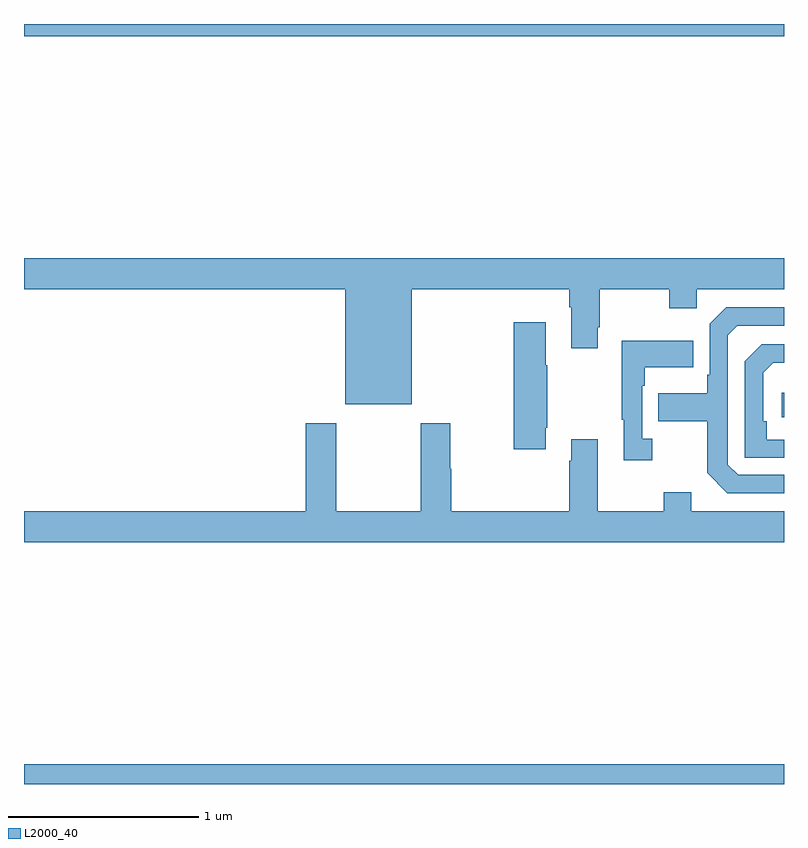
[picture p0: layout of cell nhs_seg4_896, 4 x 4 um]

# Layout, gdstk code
import gdstk
lib = gdstk.Library(unit=1e-6, precision=1e-09)
def R(c, l, rs):  # rectangles x0, y0, x1, y1
    for r in rs: c.add(gdstk.rectangle(r[:2], r[2:], *l))
def P(c, l, *ps):  # polygons
    for p in ps: c.add(gdstk.Polygon(p, *l))
L2000_40 = (2000, 40)

nhs_seg4_896 = lib.new_cell('nhs_seg4_896')
R(nhs_seg4_896, L2000_40, [(157,776.9,161,777.004), (160.989,778.83,161,778.96), (157,780.836,161,780.9)])
P(nhs_seg4_896, L2000_40, [(159.04,779.504),(159.869,779.504),(159.869,779.408),(159.881,779.408),(159.881,779.193),(160.021,779.193),(160.021,779.305),(160.029,779.305),(160.029,779.504),(160.396,779.504),(160.396,779.405),(160.542,779.405),(160.542,779.504),(161,779.504),(161,779.668),(157,779.668),(157,779.504),(158.69,779.504),(158.69,778.898),(159.04,778.898)],
  [(161,778.527),(160.758,778.527),(160.704,778.581),(160.704,779.262),(160.755,779.313),(161,779.313),(161,779.409),(160.695,779.409),(160.608,779.322),(160.608,779.053),(160.596,779.053),(160.596,778.957),(160.339,778.957),(160.339,778.81),(160.596,778.81),(160.596,778.537),(160.701,778.431),(161,778.431)],
  [(159.745,778.774),(159.753,778.774),(159.753,779.105),(159.745,779.105),(159.745,779.329),(159.578,779.329),(159.578,778.662),(159.745,778.662)],
  [(160.306,778.718),(160.254,778.718),(160.254,778.997),(160.267,778.997),(160.267,779.093),(160.523,779.093),(160.523,779.233),(160.146,779.233),(160.146,778.817),(160.157,778.817),(160.157,778.605),(160.306,778.605)],
  [(161,778.713),(160.91,778.713),(160.91,778.81),(160.89,778.81),(160.89,779.064),(160.943,779.117),(161,779.117),(161,779.214),(160.884,779.214),(160.794,779.124),(160.794,778.617),(161,778.617)],
  [(161,778.336),(160.513,778.336),(160.513,778.435),(160.366,778.435),(160.366,778.336),(160.021,778.336),(160.021,778.714),(159.881,778.714),(159.881,778.601),(159.869,778.601),(159.869,778.336),(159.248,778.336),(159.248,778.559),(159.243,778.559),(159.243,778.798),(159.088,778.798),(159.088,778.336),(158.643,778.336),(158.643,778.798),(158.483,778.798),(158.483,778.336),(157,778.336),(157,778.172),(161,778.172)])

lib.write_gds('nhs_seg4_896.gds')
